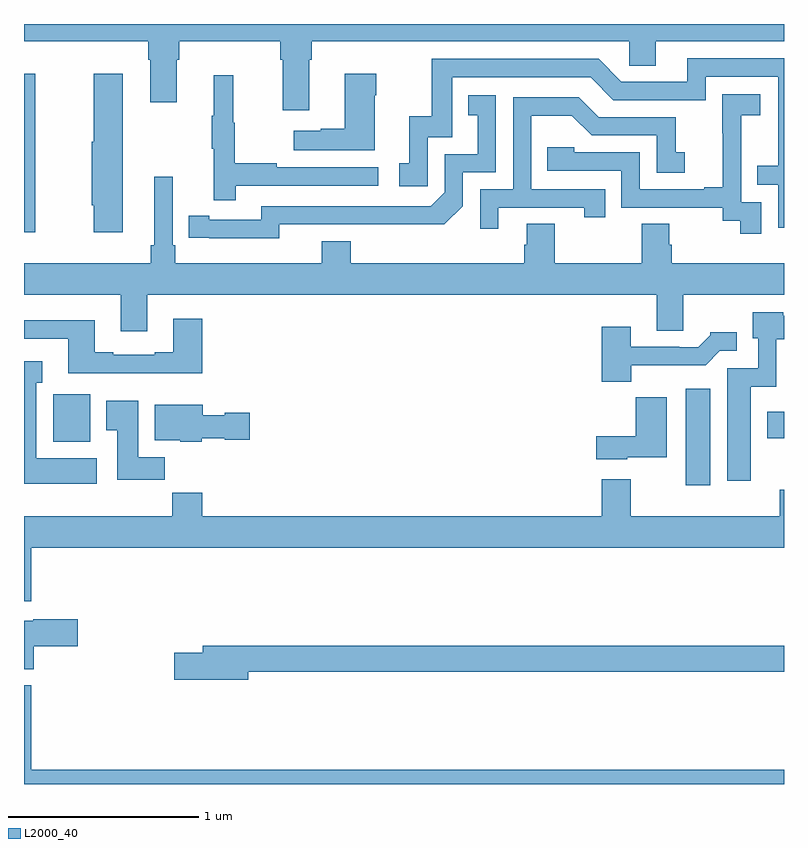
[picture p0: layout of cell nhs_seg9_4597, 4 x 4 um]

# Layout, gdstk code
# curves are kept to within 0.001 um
import gdstk
lib = gdstk.Library(unit=1e-6, precision=1e-09)
def R(c, l, rs):  # rectangles x0, y0, x1, y1
    for r in rs: c.add(gdstk.rectangle(r[:2], r[2:], *l))
def P(c, l, *ps):  # polygons
    for p in ps: c.add(gdstk.Polygon(p, *l))
L2000_40 = (2000, 40)

nhs_seg9_4597 = lib.new_cell('nhs_seg9_4597')
R(nhs_seg9_4597, L2000_40, [(378.482,1206.072,378.613,1206.58), (375.153,1206.302,375.349,1206.552), (378.911,1206.32,379,1206.46), (375,1207.404,375.06,1208.239)])
P(nhs_seg9_4597, L2000_40, [(376.501,1208.312),(376.514,1208.312),(376.514,1208.408),(378.186,1208.408),(378.186,1208.281),(378.325,1208.281),(378.325,1208.408),(379,1208.408),(379,1208.5),(375,1208.5),(375,1208.408),(375.653,1208.408),(375.653,1208.312),(375.665,1208.312),(375.665,1208.088),(375.805,1208.088),(375.805,1208.312),(375.818,1208.312),(375.818,1208.408),(376.349,1208.408),(376.349,1208.312),(376.361,1208.312),(376.361,1208.046),(376.501,1208.046)],
  [(379,1208.319),(378.491,1208.319),(378.491,1208.196),(378.144,1208.196),(378.024,1208.316),(377.145,1208.316),(377.145,1208.014),(377.027,1208.014),(377.027,1207.767),(376.974,1207.767),(376.974,1207.647),(377.124,1207.647),(377.124,1207.905),(377.253,1207.905),(377.253,1208.22),(377.982,1208.22),(378.102,1208.1),(378.588,1208.1),(378.588,1208.223),(378.969,1208.223),(378.969,1207.754),(378.859,1207.754),(378.859,1207.653),(378.969,1207.653),(378.969,1207.428),(379,1207.428)],
  [(376.846,1208.126),(376.854,1208.126),(376.854,1208.239),(376.688,1208.239),(376.688,1207.949),(376.562,1207.949),(376.562,1207.939),(376.419,1207.939),(376.419,1207.835),(376.846,1207.835)],
  [(375.52,1208.239),(375.367,1208.239),(375.367,1207.881),(375.356,1207.881),(375.356,1207.545),(375.367,1207.545),(375.367,1207.404),(375.52,1207.404)],
  [(376.115,1207.65),(376.864,1207.65),(376.864,1207.746),(376.331,1207.746),(376.331,1207.766),(376.108,1207.766),(376.108,1207.98),(376.1,1207.98),(376.1,1208.23),(375.998,1208.23),(375.998,1208.017),(375.987,1208.017),(375.987,1207.843),(375.998,1207.843),(375.998,1207.572),(376.115,1207.572)],
  [(378.879,1207.563),(378.774,1207.563),(378.774,1207.793),(378.776,1207.793),(378.776,1208.021),(378.874,1208.021),(378.874,1208.131),(378.676,1208.131),(378.676,1207.925),(378.677,1207.925),(378.677,1207.642),(378.581,1207.642),(378.581,1207.629),(378.24,1207.629),(378.24,1207.824),(377.895,1207.824),(377.895,1207.851),(377.755,1207.851),(377.755,1207.728),(378.144,1207.728),(378.144,1207.533),(378.678,1207.533),(378.678,1207.465),(378.771,1207.465),(378.771,1207.395),(378.879,1207.395)],
  [(376.344,1207.446),(377.212,1207.445),(377.31,1207.542),(377.31,1207.719),(377.484,1207.719),(377.484,1208.125),(377.338,1208.125),(377.338,1208.019),(377.387,1208.019),(377.387,1207.815),(377.214,1207.815),(377.214,1207.614),(377.142,1207.542),(376.248,1207.542),(376.248,1207.47),(375.976,1207.47),(375.976,1207.49),(375.868,1207.49),(375.868,1207.374),(376.344,1207.373)],
  [(377.497,1207.533),(377.948,1207.533),(377.948,1207.482),(378.059,1207.482),(378.059,1207.629),(377.67,1207.629),(377.67,1208.018),(377.884,1208.018),(377.988,1207.914),(378.33,1207.914),(378.33,1207.716),(378.478,1207.716),(378.478,1207.825),(378.429,1207.825),(378.429,1208.01),(378.025,1208.01),(377.92,1208.115),(377.574,1208.115),(377.574,1207.629),(377.4,1207.629),(377.4,1207.422),(377.497,1207.422)],
  [(375.649,1207.076),(378.329,1207.076),(378.329,1206.886),(378.469,1206.886),(378.469,1207.076),(379,1207.076),(379,1207.24),(378.41,1207.24),(378.41,1207.338),(378.397,1207.338),(378.397,1207.448),(378.25,1207.448),(378.25,1207.24),(377.793,1207.24),(377.793,1207.448),(377.645,1207.448),(377.645,1207.338),(377.633,1207.338),(377.633,1207.24),(376.721,1207.24),(376.721,1207.357),(376.568,1207.357),(376.568,1207.24),(375.797,1207.24),(375.797,1207.336),(375.783,1207.336),(375.783,1207.696),(375.686,1207.696),(375.686,1207.336),(375.667,1207.336),(375.667,1207.24),(375,1207.24),(375,1207.076),(375.509,1207.076),(375.509,1206.882),(375.649,1206.882)],
  [(378.826,1206.59),(378.96,1206.59),(378.96,1206.842),(379,1206.842),(379,1206.964),(378.996,1206.964),(378.996,1206.982),(378.836,1206.982),(378.836,1206.846),(378.864,1206.846),(378.864,1206.687),(378.701,1206.687),(378.701,1206.096),(378.826,1206.096)],
  [(375.938,1206.949),(375.785,1206.949),(375.785,1206.772),(375.689,1206.772),(375.689,1206.759),(375.469,1206.759),(375.469,1206.772),(375.373,1206.772),(375.373,1206.94),(375,1206.94),(375,1206.843),(375.233,1206.843),(375.233,1206.662),(375.938,1206.662)],
  [(378.196,1206.704),(378.587,1206.704),(378.663,1206.78),(378.751,1206.78),(378.751,1206.877),(378.612,1206.877),(378.612,1206.862),(378.548,1206.798),(378.449,1206.798),(378.449,1206.801),(378.193,1206.801),(378.193,1206.907),(378.041,1206.907),(378.041,1206.617),(378.196,1206.617)],
  [(375.382,1206.214),(375.064,1206.214),(375.064,1206.611),(375.097,1206.611),(375.097,1206.724),(375,1206.724),(375,1206.08),(375.382,1206.08)],
  [(378.174,1206.221),(378.382,1206.221),(378.382,1206.535),(378.22,1206.535),(378.22,1206.331),(378.012,1206.331),(378.012,1206.209),(378.174,1206.209)],
  [(375.74,1206.22),(375.601,1206.22),(375.601,1206.517),(375.434,1206.517),(375.434,1206.361),(375.491,1206.361),(375.491,1206.102),(375.74,1206.102)],
  [(375.936,1206.32),(376.056,1206.32),(376.056,1206.313),(376.189,1206.313),(376.189,1206.455),(376.056,1206.455),(376.056,1206.442),(375.94,1206.442),(375.94,1206.496),(375.689,1206.496),(375.689,1206.308),(375.822,1206.308),(375.822,1206.302),(375.936,1206.302)],
  [(375.037,1205.744),(379,1205.744),(379,1206.049),(378.977,1206.049),(378.977,1205.908),(378.193,1205.908),(378.193,1206.103),(378.041,1206.103),(378.041,1205.908),(375.938,1205.908),(375.938,1206.032),(375.781,1206.032),(375.781,1205.908),(375,1205.908),(375,1205.463),(375.037,1205.463)],
  [(375.052,1205.225),(375.283,1205.225),(375.283,1205.367),(375.048,1205.367),(375.048,1205.359),(375,1205.359),(375,1205.105),(375.052,1205.105)],
  [(376.18,1205.092),(379,1205.092),(379,1205.228),(375.941,1205.228),(375.941,1205.192),(375.792,1205.192),(375.792,1205.05),(376.18,1205.05)],
  [(379,1204.576),(375.037,1204.576),(375.037,1205.02),(375,1205.02),(375,1204.5),(379,1204.5)])

lib.write_gds('nhs_seg9_4597.gds')
